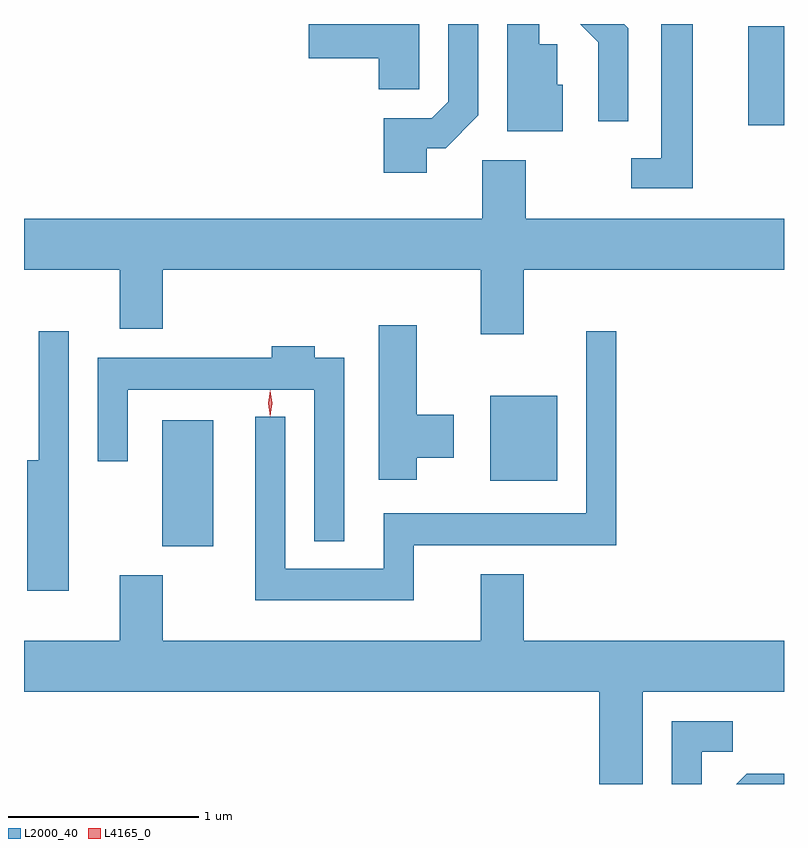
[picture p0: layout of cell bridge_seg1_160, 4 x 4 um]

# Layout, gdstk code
import gdstk
lib = gdstk.Library(unit=1e-6, precision=1e-09)
def R(c, l, rs):  # rectangles x0, y0, x1, y1
    for r in rs: c.add(gdstk.rectangle(r[:2], r[2:], *l))
def P(c, l, *ps):  # polygons
    for p in ps: c.add(gdstk.Polygon(p, *l))
L2000_40 = (2000, 40)
L4165_0 = (4165, 0)

bridge_seg1_160 = lib.new_cell('bridge_seg1_160')
R(bridge_seg1_160, L2000_40, [(766.196,942.521,766.464,943.184), (767.921,942.866,768.274,943.314), (769.281,944.736,769.468,945.259)])
P(bridge_seg1_160, L2000_40, [(768.304,944.949),(768.274,944.949),(768.274,945.164),(768.179,945.164),(768.179,945.27),(768.011,945.27),(768.011,944.706),(768.304,944.706)],
  [(768.989,945.27),(768.821,945.27),(768.821,944.564),(768.663,944.564),(768.663,944.406),(768.989,944.406)],
  [(768.649,945.247),(768.626,945.27),(768.395,945.27),(768.491,945.174),(768.491,944.758),(768.649,944.758)],
  [(767.589,944.616),(767.687,944.616),(767.859,944.789),(767.859,945.27),(767.701,945.27),(767.701,944.862),(767.614,944.774),(767.361,944.774),(767.361,944.486),(767.589,944.486)],
  [(767.549,945.27),(766.966,945.27),(766.966,945.091),(767.336,945.091),(767.336,944.926),(767.549,944.926)],
  [(768.099,943.976),(769.468,943.976),(769.468,944.244),(768.109,944.244),(768.109,944.554),(767.881,944.554),(767.881,944.244),(765.468,944.244),(765.468,943.976),(765.971,943.976),(765.971,943.666),(766.199,943.666),(766.199,943.976),(767.871,943.976),(767.871,943.636),(768.099,943.636)],
  [(767.534,942.986),(767.729,942.986),(767.729,943.214),(767.534,943.214),(767.534,943.684),(767.336,943.684),(767.336,942.871),(767.534,942.871)],
  [(765.704,943.653),(765.546,943.653),(765.546,942.974),(765.486,942.974),(765.486,942.286),(765.704,942.286)],
  [(767.519,942.526),(768.584,942.526),(768.584,943.653),(768.426,943.653),(768.426,942.694),(767.361,942.694),(767.361,942.404),(766.844,942.404),(766.844,943.203),(766.686,943.203),(766.686,942.236),(767.519,942.236)],
  [(767.154,943.514),(766.999,943.514),(766.999,943.574),(766.771,943.574),(766.771,943.514),(765.856,943.514),(765.856,942.968),(766.014,942.968),(766.014,943.346),(766.996,943.346),(766.996,942.548),(767.154,942.548)],
  [(768.724,941.756),(769.468,941.756),(769.468,942.024),(768.099,942.024),(768.099,942.374),(767.871,942.374),(767.871,942.024),(766.199,942.024),(766.199,942.369),(765.971,942.369),(765.971,942.024),(765.468,942.024),(765.468,941.756),(768.496,941.756),(768.496,941.27),(768.724,941.27)],
  [(769.034,941.441),(769.198,941.441),(769.198,941.599),(768.876,941.599),(768.876,941.27),(769.034,941.27)],
  [(769.468,941.324),(769.272,941.324),(769.217,941.27),(769.468,941.27)])
P(bridge_seg1_160, L4165_0, [(766.763,943.204),(766.763,943.204),(766.753,943.273),(766.763,943.342),(766.763,943.343),(766.764,943.342),(766.773,943.273),(766.764,943.204)],
  [(766.763,943.207),(766.754,943.274),(766.763,943.34),(766.764,943.34),(766.764,943.34),(766.774,943.274),(766.764,943.207),(766.764,943.207)])

lib.write_gds('bridge_seg1_160.gds')
